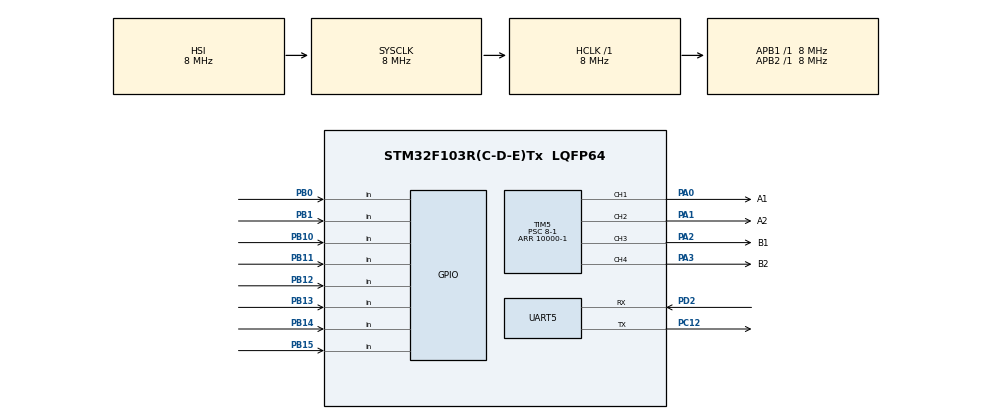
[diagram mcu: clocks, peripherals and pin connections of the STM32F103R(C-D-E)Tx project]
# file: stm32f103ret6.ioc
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Mcu.Family=STM32F1
Mcu.Name=STM32F103R(C-D-E)Tx
Mcu.Package=LQFP64
NVIC.PriorityGroup=NVIC_PRIORITYGROUP_4
NVIC.UART5_IRQn=true\:1\:0\:true\:false\:true\:true\:true\:true
PA0-WKUP.GPIO_Label=A1
PA0-WKUP.Signal=S_TIM5_CH1
PA1.GPIO_Label=A2
PA1.Signal=S_TIM5_CH2
PA2.GPIO_Label=B1
PA2.Signal=S_TIM5_CH3
PA3.GPIO_Label=B2
PA3.Signal=S_TIM5_CH4
PB0.Signal=GPIO_Input
PB1.Signal=GPIO_Input
PB10.Signal=GPIO_Input
PB11.Signal=GPIO_Input
PB12.Signal=GPIO_Input
PB13.Signal=GPIO_Input
PB14.Signal=GPIO_Input
PB15.Signal=GPIO_Input
PC12.Mode=Asynchronous
PC12.Signal=UART5_TX
PD2.Mode=Asynchronous
PD2.Signal=UART5_RX
ProjectManager.HeapSize=0x200
ProjectManager.StackSize=0x400
ProjectManager.TargetToolchain=MDK-ARM V5.32
RCC.AHBFreq_Value=8000000
RCC.APB1Freq_Value=8000000
RCC.APB1TimFreq_Value=8000000
RCC.APB2Freq_Value=8000000
RCC.APB2TimFreq_Value=8000000
RCC.HCLKFreq_Value=8000000
RCC.SYSCLKFreq_VALUE=8000000
RCC.USBFreq_Value=8000000
SH.S_TIM5_CH1.0=TIM5_CH1,PWM Generation1 CH1
SH.S_TIM5_CH2.0=TIM5_CH2,PWM Generation2 CH2
SH.S_TIM5_CH3.0=TIM5_CH3,PWM Generation3 CH3
SH.S_TIM5_CH4.0=TIM5_CH4,PWM Generation4 CH4
TIM5.Channel-PWM\ Generation1\ CH1=TIM_CHANNEL_1
TIM5.Channel-PWM\ Generation2\ CH2=TIM_CHANNEL_2
TIM5.Channel-PWM\ Generation3\ CH3=TIM_CHANNEL_3
TIM5.Channel-PWM\ Generation4\ CH4=TIM_CHANNEL_4
TIM5.Period=10000-1
TIM5.Prescaler=8-1
UART5.VirtualMode=Asynchronous
VP_SYS_VS_ND.Mode=No_Debug
VP_TIM5_VS_ClockSourceINT.Mode=Internal
board=custom

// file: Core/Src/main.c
/* USER CODE BEGIN Header */
/**
  ******************************************************************************
  * @file           : main.c
  * @brief          : Main program body
  ******************************************************************************
  * @attention
  *
  * Copyright (c) 2023 STMicroelectronics.
  * All rights reserved.
  *
  * This software is licensed under terms that can be found in the LICENSE file
  * in the root directory of this software component.
  * If no LICENSE file comes with this software, it is provided AS-IS.
  *
  ******************************************************************************
  */
/* USER CODE END Header */
#include "main.h"
#include "tim.h"
#include "usart.h"
#include "gpio.h"

/* USER CODE BEGIN Includes */
#include "stdio.h"
/* USER CODE END Includes */

void SystemClock_Config(void);

/* USER CODE BEGIN 0 */
int fputc(int c,FILE * stream)
{
	uint8_t ch[1] = {c};
	HAL_UART_Transmit(&huart5,ch,1,0xFFFF);
	return c;
}

int fgetc(FILE *f)
{
	int ch;
	while (__HAL_UART_GET_FLAG(&huart5, UART_FLAG_RXNE) == RESET);
	HAL_UART_Receive(&huart5, (uint8_t *)&ch, 1, 1000);
	return (ch);
}

unsigned char ForwardSensor;
unsigned char BackwardSensor;

float initialMotorSpeed = 0.4; //初始速度
float Kp; //比例系数
float Ki; //积分系数
float Kd; //微分系数
float expectVal; //期望值
float realVal; //实际值
float currentValue; //当前误差
float controlIncrementalValue; //控制增量
float controlIncrementalVal; //返回的控制增量
float controlVal; //控制量
float lastVal = 0; //上次误差
float nextLastVal = 0; //上上次误差
int error; //误差
float P = 0, I = 0, D = 0, PID_value = 0;
float previous_error = 0, previous_I = 0;

enum Direction
{
	FORWARD,
	BACKWARD
};

void SetSpeed
(float RightDuty,
	enum Direction RightDirection,
	float LeftDuty,
	enum Direction LeftDirection)
{
	int CounterPeriod, Compare;
	CounterPeriod = __HAL_TIM_GET_AUTORELOAD(&htim5);
	Compare = (int)(CounterPeriod * LeftDuty);
	switch (LeftDirection)
	{
		case FORWARD:
			__HAL_TIM_SET_COMPARE(&htim5, TIM_CHANNEL_1, Compare);
			__HAL_TIM_SET_COMPARE(&htim5, TIM_CHANNEL_2, 0);
			break;
		case BACKWARD:
			__HAL_TIM_SET_COMPARE(&htim5, TIM_CHANNEL_1, 0);
			__HAL_TIM_SET_COMPARE(&htim5, TIM_CHANNEL_2, Compare);
			break;
	}
	Compare = (int)(CounterPeriod * RightDuty);
	switch (RightDirection)
	{
		case FORWARD:
			__HAL_TIM_SET_COMPARE(&htim5, TIM_CHANNEL_3, 0);
			__HAL_TIM_SET_COMPARE(&htim5, TIM_CHANNEL_4, Compare);
			break;
		case BACKWARD:
			__HAL_TIM_SET_COMPARE(&htim5, TIM_CHANNEL_3, Compare);
			__HAL_TIM_SET_COMPARE(&htim5, TIM_CHANNEL_4, 0);
			break;
	}
}

void ReadSensor(void)
{
	ForwardSensor = (
		(HAL_GPIO_ReadPin(GPIOB, GPIO_PIN_10) << 7) |
		(HAL_GPIO_ReadPin(GPIOB, GPIO_PIN_11) << 6) |
		(HAL_GPIO_ReadPin(GPIOB, GPIO_PIN_12) << 5) |
		(HAL_GPIO_ReadPin(GPIOB, GPIO_PIN_13) << 4) |
		(HAL_GPIO_ReadPin(GPIOB, GPIO_PIN_14) << 3) |
		(HAL_GPIO_ReadPin(GPIOB, GPIO_PIN_15) << 2) |
		(HAL_GPIO_ReadPin(GPIOB, GPIO_PIN_0)  << 1) |
		(HAL_GPIO_ReadPin(GPIOB, GPIO_PIN_1)  << 0)
	);
}

void CalculateError(void)
{
	switch (ForwardSensor)
	{
		// 1个的情况
		case 0b10000000:
			error = -4;
			break;
		case 0b01000000:
			error = -3;
			break;
		case 0b00100000:
			error = -2;
			break;
		case 0b00010000:
			error = -1;
			break;
		case 0b00001000:
			error = 1;
			break;
		case 0b00000100:
			error = 2;
			break;
		case 0b00000010:
			error = 3;
			break;
		case 0b00000001:
			error = 4;
			break;
		// 2个的情况
		case 0b11000000:
			error = -3;
			break;
		case 0b01100000:
			error = -2;
			break;
		case 0b00110000:
			error = -1;
			break;
		case 0b00011000:
			error = 0;
			break;
		case 0b00001100:
			error = 1;
			break;
		case 0b00000110:
			error = 2;
			break;
		case 0b00000011:
			error = 3;
			break;
		// 3个的情况
		case 0b11100000:
			error = -2;
			break;
		case 0b00000111:
			error = 2;
			break;
		//大左转
		case 0b00001111:
			error = 100;
			break;
		//大右转
		case 0b11110000:
			error = 101;
			break;
		//停
		case 0b11111111:
			error = 102;
			break;
	}
}

float incrementalPID(float expectValue, float realValue)//增量式PID（期望值，实际值）
{
	currentValue = expectValue - realValue;//计算当前误差
	//计算控制增量
	controlIncrementalValue = Kp * (currentValue - lastVal) + Ki * currentValue + Kd * ((currentValue - lastVal) - (lastVal - nextLastVal));
	nextLastVal = lastVal;//更新上上次误差
	lastVal = currentValue;//更新上次误差
	return controlIncrementalValue;
}

void calculateControlValue()//计算控制量
{
	controlIncrementalVal = incrementalPID(0, error); //调用函数获得控制增量
	controlVal = controlVal + controlIncrementalVal;//计算控制量
}

void motor_control()
{
	//计算影响之后电机的转速
	float leftMotorSpeed = initialMotorSpeed - controlVal;
	float rightMotorSpeed = initialMotorSpeed + controlVal;

	SetSpeed(rightMotorSpeed,FORWARD,leftMotorSpeed,FORWARD);

}

void forward()
{
	SetSpeed(0.4,FORWARD,0.4,FORWARD);
}

void reverse()
{
	SetSpeed(0.4,BACKWARD,0.4,BACKWARD);
}

void right()
{
	SetSpeed(0.2,FORWARD,0.4,FORWARD);
}

void left()
{
	SetSpeed(0.4,FORWARD,0.2,FORWARD);
}

void sharpRightTurn()
{
	SetSpeed(0.4,BACKWARD,0.4,FORWARD);
}

void sharpLeftTurn()
{
	SetSpeed(0.4,FORWARD,0.4,BACKWARD);
}

void stop()
{
	SetSpeed(0,FORWARD,0,FORWARD);
}

void Go(void)
{
	ReadSensor();// 读取前向八路灰度传感器的情况
	CalculateError();// 判断误差error
	switch(error)
	{
		//大左转
		case 100:
			if(error == 100)
			{
				forward();
				HAL_Delay(1000);
				stop();
				do{
					ReadSensor();
					sharpLeftTurn();
				}while(error != 0 || error != 1);
			}
			break;
		//大右转
		case 101:
			if(error == 100)
			{
				forward();
				HAL_Delay(1000);
				stop();
				do{
					ReadSensor();
					sharpRightTurn();
				}while(error != 0 || error != 1);
			}
			break;
		//停车
		case 102:
			do{
				ReadSensor();
				stop();
			}while(error != 0 || error != 1);
			break;
		default:
			calculateControlValue();//计算控制量
			motor_control();
	}
	ReadSensor();
	CalculateError();
}
/* USER CODE END 0 */

int main(void)
{

  /* MCU Configuration--------------------------------------------------------*/

  /* Reset of all peripherals, Initializes the Flash interface and the Systick. */
  HAL_Init();

  /* Configure the system clock */
  SystemClock_Config();

  /* Initialize all configured peripherals */
  MX_GPIO_Init();
  MX_TIM5_Init();
  MX_UART5_Init();
  /* USER CODE BEGIN 2 */
	HAL_TIM_Base_Start(&htim5);
	HAL_TIM_PWM_Start(&htim5, TIM_CHANNEL_1);
	HAL_TIM_PWM_Start(&htim5, TIM_CHANNEL_2);
	HAL_TIM_PWM_Start(&htim5, TIM_CHANNEL_3);
	HAL_TIM_PWM_Start(&htim5, TIM_CHANNEL_4);
  /* USER CODE END 2 */

  /* Infinite loop */
  /* USER CODE BEGIN WHILE */
//	unsigned char *arr[] = {"-4","-3","-2","-1","0","1","2","3","4"};
//	unsigned char **p = &arr[4];
	while (1)
	{
//		HAL_UART_Transmit_IT(&huart5,p[error],2);
//		HAL_Delay(500);
	while (1)
	{
		Go();
		printf("%d\r\n",ForwardSensor);
		HAL_Delay(1000);
    /* USER CODE END WHILE */

	}
}
}

void SystemClock_Config(void)
{
  RCC_OscInitTypeDef RCC_OscInitStruct = {0};
  RCC_ClkInitTypeDef RCC_ClkInitStruct = {0};

  /** Initializes the RCC Oscillators according to the specified parameters
  * in the RCC_OscInitTypeDef structure.
  */
  RCC_OscInitStruct.OscillatorType = RCC_OSCILLATORTYPE_HSI;
  RCC_OscInitStruct.HSIState = RCC_HSI_ON;
  RCC_OscInitStruct.HSICalibrationValue = RCC_HSICALIBRATION_DEFAULT;
  RCC_OscInitStruct.PLL.PLLState = RCC_PLL_NONE;
  if (HAL_RCC_OscConfig(&RCC_OscInitStruct) != HAL_OK)
  {
    Error_Handler();
  }

  /** Initializes the CPU, AHB and APB buses clocks
  */
  RCC_ClkInitStruct.ClockType = RCC_CLOCKTYPE_HCLK|RCC_CLOCKTYPE_SYSCLK
                              |RCC_CLOCKTYPE_PCLK1|RCC_CLOCKTYPE_PCLK2;
  RCC_ClkInitStruct.SYSCLKSource = RCC_SYSCLKSOURCE_HSI;
  RCC_ClkInitStruct.AHBCLKDivider = RCC_SYSCLK_DIV1;
  RCC_ClkInitStruct.APB1CLKDivider = RCC_HCLK_DIV1;
  RCC_ClkInitStruct.APB2CLKDivider = RCC_HCLK_DIV1;

  if (HAL_RCC_ClockConfig(&RCC_ClkInitStruct, FLASH_LATENCY_0) != HAL_OK)
  {
    Error_Handler();
  }
}

void Error_Handler(void)
{
	__disable_irq();
	while (1)
	{
	}
}
